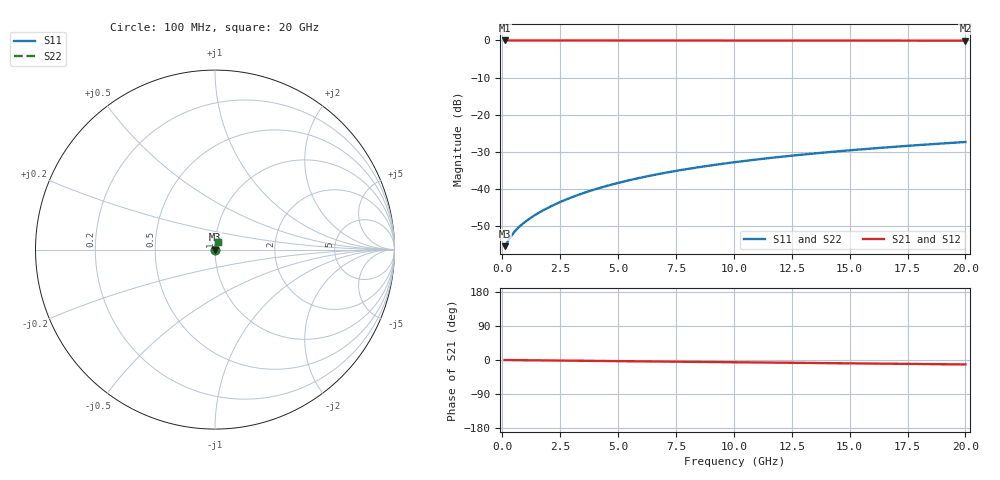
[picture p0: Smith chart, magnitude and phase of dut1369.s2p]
! Touchstone file exported from HFSS 2026.1.0
!  File:  C:/ffzhzh/LocalFiles/Ansys_Project_Files/temp_train_BSMRDL_1369_1783179358_43440.aedt
!  Generated:  11:37:11 PM Jul  4, 2026
!  Design:  BSMRDL
!  Project:  temp_train_BSMRDL_1369_1783179358_43440
! Variables:
!  h_bsmrdl = 2.43um
!  h_ox = 20um
!  h_rdl = 5um
!  h_sub = 80um
!  h_tmrdl = 5um
!  h_tsv = 80um
!  h_via = 3um
!  l_bsmrdl = 190.38um
!  l_sub = 590.38um
!  l_tmrdl = 200um
!  m_sub = 200um
!  pitch = 26.54um
!  r_tsv = 6um
!  s_tmrdl = 10um
!  w_bsmrdl = 21.14um
!  w_sub = 500um
!  w_tmrdl = 12um
!  x_tsv_center1 = 206um
!  x_tsv_center2 = 417.52um
!  x_tsv_center3 = 629.52um
!  x_tsv_center4 = 841.04um
!  x_tsv_center5 = 1053.04um
!  x_tsv_center6 = 1264.56um
# GHz S MA R 50.000000
! Terminal data exported
! Port[1] = BSM_RDL1_1_T1
! Port[2] = BSM_RDL1_1_T2
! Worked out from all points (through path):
!   200 points, 100 MHz to 20 GHz, reference 50 ohm
!   highest |S21| = -0.01 dB at 100 MHz (marker M1); lowest = -0.1 dB at 20 GHz (marker M2)
!   group delay of S21, straight-line fit = 1.62 ps
!   lowest |S11| = -55.3 dB at 100 MHz (marker M3), VSWR 1.00, Z = 50.2 + j0.0392 ohm
!   |S11| at or under -10 dB: start of sweep to end of sweep
!   |S22| runs from -55.3 to -27.3 dB; largest |S21 - S12| = 2e-14
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0.1  0.001708 13.2  0.9983 -0.1  0.9983 -0.1  0.001708 13.2
! Gamma 0 0 0 0
! Port Impedance 50 0 50 0
0.2  0.001894 23.5  0.9983 -0.1  0.9983 -0.1  0.001894 23.5
0.4  0.002375 35.3  0.9981 -0.3  0.9981 -0.3  0.002375 35.3
0.5  0.002611 38.8  0.998 -0.3  0.998 -0.3  0.002611 38.8
0.6  0.002835 41.5  0.9979 -0.4  0.9979 -0.4  0.002835 41.5
0.7  0.003049 43.9  0.9978 -0.4  0.9978 -0.4  0.003049 43.9
0.9  0.003458 47.8  0.9977 -0.6  0.9977 -0.6  0.003458 47.8
1.2  0.004054 52.5  0.9975 -0.7  0.9975 -0.7  0.004054 52.5
1.7  0.005054 58.4  0.9974 -1.0  0.9974 -1.0  0.005054 58.4
2.2  0.006078 62.5  0.9973 -1.3  0.9973 -1.3  0.006078 62.5
2.8  0.007337 66.0  0.9972 -1.7  0.9972 -1.7  0.007337 66.0
3.5  0.008838 68.8  0.9971 -2.1  0.9971 -2.1  0.008838 68.8
4.2  0.01036 70.6  0.9969 -2.5  0.9969 -2.5  0.01036 70.6
5  0.01211 72.0  0.9968 -3.0  0.9968 -3.0  0.01211 72.0
5.9  0.01409 72.9  0.9966 -3.5  0.9966 -3.5  0.01409 72.9
6.8  0.01606 73.4  0.9964 -4.0  0.9964 -4.0  0.01606 73.4
8.4  0.01953 73.7  0.996 -5.0  0.996 -5.0  0.01953 73.7
10.1  0.02316 73.5  0.9955 -6.0  0.9955 -6.0  0.02316 73.5
11.7  0.02652 73.1  0.995 -6.9  0.995 -6.9  0.02652 73.1
13.4  0.03002 72.5  0.9945 -7.9  0.9945 -7.9  0.03002 72.5
16.7  0.03663 71.1  0.9935 -9.8  0.9935 -9.8  0.03663 71.1
20  0.04303 69.6  0.9926 -11.7  0.9926 -11.7  0.04303 69.6
